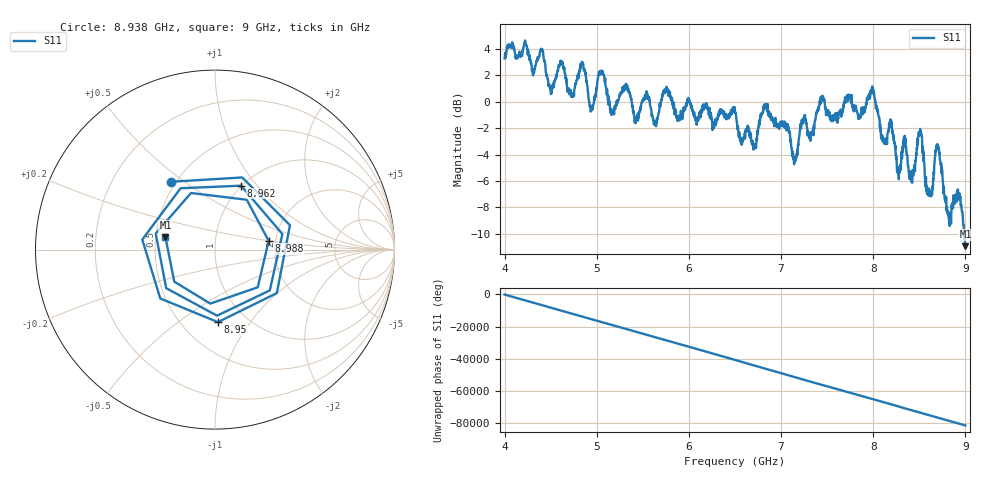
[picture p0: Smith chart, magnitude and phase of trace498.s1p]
! Created with skrf 1.8.0 (http://scikit-rf.org).
# Hz S RI R 50.0
!freq ReS11 ImS11
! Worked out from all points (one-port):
!   1601 points, 4 GHz to 9 GHz, reference 50 ohm
!   lowest |S11| = -10.9 dB at 9 GHz (marker M1), VSWR 1.79, Z = 28.1 + j4.21 ohm
!   |S11| at or under -10 dB: 8.985952 GHz to 8.99075 GHz (4.798 MHz wide, 0.0534 % of centre); 8.991234 GHz to end of sweep
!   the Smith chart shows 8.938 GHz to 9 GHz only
!   S11 on the Smith chart (normalised r, x): 8.938 GHz: 0.47, +0.45; 8.95 GHz: 0.74, -0.71; 8.962 GHz: 0.99, +0.83; 8.988 GHz: 1.84, +0.20; 9 GHz: 0.56, +0.08
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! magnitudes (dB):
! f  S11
! 4 GHz  3.3
! 4.4 GHz  4.0
! 4.5 GHz  1.0
! 4.625 GHz  2.9
! 4.728 GHz  0.6
! 4.85 GHz  2.8
! 4.941 GHz  -0.7
! 5.044 GHz  2.3
! 5.25 GHz  0.6
! 5.875 GHz  -1.5
! 6.5 GHz  -0.9
! 6.706 GHz  -3.2
! 6.834 GHz  -0.4
! 7.125 GHz  -4.2
! 7.444 GHz  0.3
! 7.75 GHz  0.5
! 7.994 GHz  0.7
! 8.109 GHz  -2.9
! 8.375 GHz  -4.8
! 8.506 GHz  -2.3
! 8.6 GHz  -6.9
! 8.694 GHz  -3.2
! 8.819 GHz  -8.8
! 8.938 GHz  -6.9
! 8.95 GHz  -7.9
! 8.962 GHz  -8.3
! 8.988 GHz  -10.4
! 9 GHz  -10.9
